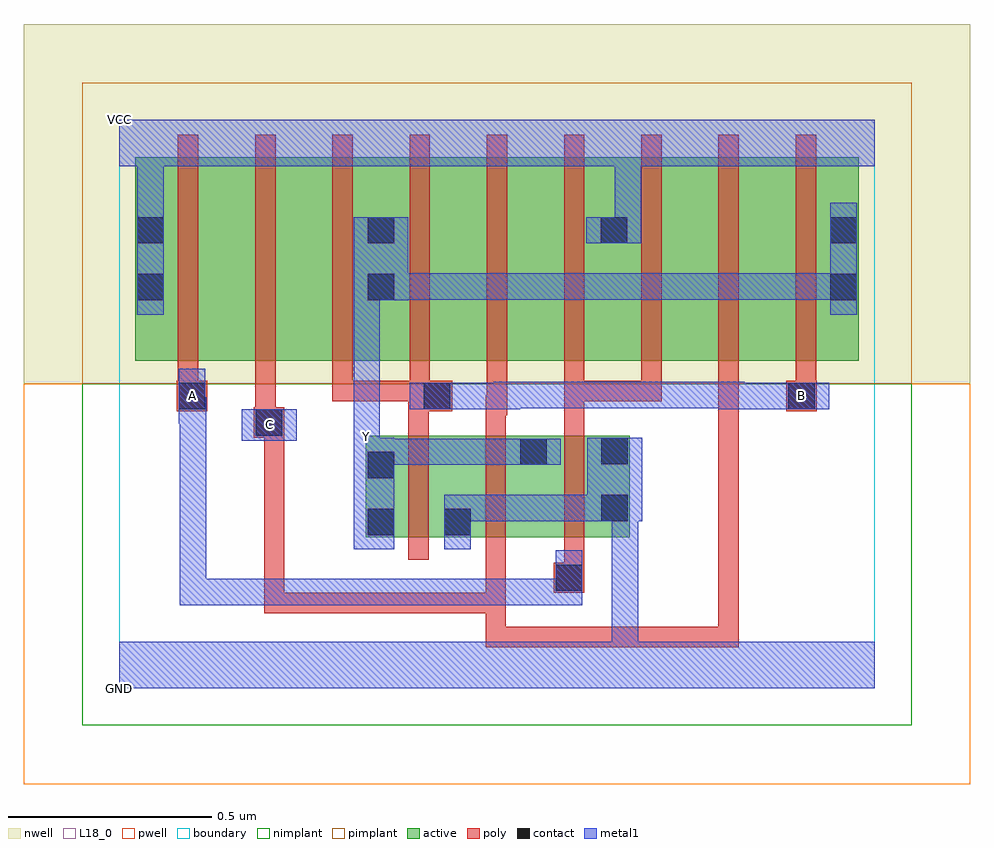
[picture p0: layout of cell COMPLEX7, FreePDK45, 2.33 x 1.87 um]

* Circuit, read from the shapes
.subckt COMPLEX7 A B C GND VCC Y
M1 GND B Y VSUBS nfet w=0.25u l=0.05u
M2 Y C GND VSUBS nfet w=0.25u l=0.05u
M3 GND A Y VSUBS nfet w=0.25u l=0.05u
M4 n1 A VCC n2 pfet w=0.5u l=0.05u
M5 n3 C n1 n2 pfet w=0.5u l=0.05u
M6 Y B n3 n2 pfet w=0.5u l=0.05u
M7 n4 B Y n2 pfet w=0.5u l=0.05u
M8 n5 C n4 n2 pfet w=0.5u l=0.05u
M9 VCC A n5 n2 pfet w=0.5u l=0.05u
M10 n6 A VCC n2 pfet w=0.5u l=0.05u
M11 n7 C n6 n2 pfet w=0.5u l=0.05u
M12 Y B n7 n2 pfet w=0.5u l=0.05u
.ends

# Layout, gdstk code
import gdstk
lib = gdstk.Library(unit=1e-6, precision=1e-09)
def R(c, l, rs):  # rectangles x0, y0, x1, y1
    for r in rs: c.add(gdstk.rectangle(r[:2], r[2:], *l))
def A(c, l, x, y, w, h, nx, ny, dx, dy):  # array of equal rectangles
    R(c, l, [(x+i*dx, y+j*dy, x+i*dx+w, y+j*dy+h) for i in range(nx) for j in range(ny)])
active = (1, 0)
pwell = (2, 0)
nwell = (3, 0)
nimplant = (4, 0)
pimplant = (5, 0)
poly = (9, 0)
contact = (10, 0)
metal1 = (11, 0)
L18_0 = (18, 0)
boundary = (235, 0)

complex7 = lib.new_cell('COMPLEX7')
A(complex7, active, 0.265, 0.807, 0.19, 0.5, 3, 1, 0.57, 0)
R(complex7, active, [(0.607,0.372,0.87,0.622), (0.607,0.372,0.682,0.622), (0.795,0.372,1.057,0.622), (0.795,0.372,0.87,0.467), (0.982,0.372,1.257,0.622), (1.182,0.407,1.257,0.622), (0.982,0.445,1.057,0.62), (0.04,0.807,0.265,1.307), (0.04,0.807,0.115,1.307), (0.455,0.807,0.682,1.307), (0.607,0.807,0.682,1.2), (0.607,0.807,0.835,1.307), (1.025,0.807,1.255,1.307), (1.18,0.807,1.405,1.307), (1.18,0.807,1.255,1.307), (1.595,0.807,1.82,1.307), (1.745,0.807,1.82,1.2)])
R(complex7, pwell, [(-0.235,-0.235,2.095,0.75)])
R(complex7, nwell, [(-0.235,0.75,2.095,1.635)])
R(complex7, nimplant, [(-0.09,-0.09,1.95,0.75)])
R(complex7, pimplant, [(-0.09,0.75,1.95,1.49)])
A(complex7, poly, 0.145, 0.752, 0.05, 0.61, 9, 1, 0.19, 0)
R(complex7, poly, [(0.902,0.102,0.952,0.152), (0.902,0.102,1.137,0.152), (0.902,0.102,0.952,0.235), (1.087,0.102,1.137,0.152), (1.087,0.102,1.137,0.152), (1.087,0.102,1.137,0.152), (1.087,0.102,1.392,0.152), (1.342,0.102,1.392,0.152), (1.342,0.102,1.392,0.152), (1.342,0.102,1.392,0.152), (1.342,0.102,1.392,0.152), (1.342,0.102,1.392,0.152), (1.342,0.102,1.392,0.152), (1.342,0.102,1.392,0.152), (1.342,0.102,1.525,0.152), (1.475,0.102,1.525,0.802), (1.475,0.102,1.525,0.152), (1.475,0.102,1.525,0.152), (1.475,0.102,1.525,0.152), (1.475,0.102,1.525,0.152), (1.475,0.102,1.525,0.152), (1.475,0.102,1.525,0.152), (1.475,0.102,1.525,0.152), (0.357,0.185,0.407,0.235), (0.357,0.185,0.407,0.235), (0.357,0.185,0.407,0.235), (0.357,0.185,0.407,0.235), (0.357,0.185,0.407,0.235), (0.357,0.185,0.54,0.235), (0.357,0.185,0.407,0.667), (0.49,0.185,0.54,0.235), (0.49,0.185,0.54,0.235), (0.49,0.185,0.54,0.235), (0.49,0.185,0.54,0.235), (0.49,0.185,0.54,0.235), (0.49,0.185,0.815,0.235), (0.765,0.185,0.815,0.235), (0.765,0.185,0.947,0.235), (0.897,0.185,0.947,0.235), (0.897,0.185,0.947,0.235), (0.897,0.185,0.952,0.235), (0.902,0.185,0.952,0.367), (1.07,0.235,1.145,0.31), (1.095,0.26,1.145,0.367), (0.712,0.317,0.762,0.677), (0.902,0.317,0.952,0.677), (1.095,0.317,1.145,0.677), (0.332,0.617,0.407,0.692), (0.712,0.627,0.762,0.732), (0.902,0.627,0.952,0.722), (1.095,0.627,1.145,0.757), (0.335,0.642,0.385,0.802), (0.902,0.672,0.955,0.722), (0.905,0.672,0.955,0.802), (0.142,0.682,0.217,0.757), (0.712,0.682,0.82,0.757), (1.642,0.682,1.717,0.757), (0.145,0.707,0.195,0.802), (0.525,0.707,0.575,0.802), (0.525,0.707,0.575,0.757), (0.525,0.707,0.762,0.757), (0.712,0.707,0.762,0.757), (0.712,0.707,0.762,0.757), (0.715,0.707,0.765,0.802), (1.095,0.707,1.145,0.802), (1.095,0.707,1.145,0.757), (1.095,0.707,1.335,0.757), (1.285,0.707,1.335,0.802), (1.285,0.707,1.335,0.757), (1.285,0.707,1.335,0.757), (1.285,0.707,1.335,0.757), (1.665,0.707,1.715,0.802)])
R(complex7, contact, [(1.075,0.24,1.14,0.305), (0.612,0.377,0.677,0.442), (0.8,0.377,0.865,0.442), (1.187,0.412,1.252,0.477), (0.612,0.517,0.677,0.582), (0.987,0.55,1.052,0.615), (1.187,0.552,1.252,0.617), (0.337,0.622,0.402,0.687), (0.147,0.687,0.212,0.752), (0.75,0.687,0.815,0.752), (1.647,0.687,1.712,0.752), (0.045,0.955,0.11,1.02), (0.612,0.955,0.677,1.02), (1.75,0.955,1.815,1.02), (0.045,1.095,0.11,1.16), (0.612,1.095,0.677,1.16), (1.185,1.095,1.25,1.16), (1.75,1.095,1.815,1.16)])
R(complex7, metal1, [(0,0,1.86,0.115), (1.212,0.05,1.277,0.477), (0.15,0.205,0.215,0.27), (0.15,0.205,0.352,0.27), (0.15,0.205,0.215,0.717), (0.287,0.205,0.352,0.27), (0.287,0.205,0.352,0.27), (0.287,0.205,0.352,0.27), (0.287,0.205,0.352,0.27), (0.287,0.205,0.352,0.27), (0.287,0.205,0.575,0.27), (0.51,0.205,0.575,0.27), (0.51,0.205,0.575,0.27), (0.51,0.205,0.575,0.27), (0.51,0.205,0.575,0.27), (0.51,0.205,0.575,0.27), (0.51,0.205,0.85,0.27), (0.785,0.205,0.85,0.27), (0.785,0.205,0.85,0.27), (0.785,0.205,0.85,0.27), (0.785,0.205,1.002,0.27), (0.937,0.205,1.002,0.27), (0.937,0.205,1.002,0.27), (0.937,0.205,1.002,0.27), (0.937,0.205,1.14,0.27), (1.075,0.205,1.14,0.34), (0.577,0.342,0.677,0.617), (0.8,0.342,0.865,0.477), (0.8,0.412,1.002,0.477), (0.937,0.412,1.002,0.477), (0.937,0.412,1.002,0.477), (0.937,0.412,1.002,0.477), (0.937,0.412,1.217,0.477), (1.152,0.412,1.217,0.477), (1.152,0.412,1.217,0.477), (1.152,0.412,1.287,0.617), (1.212,0.412,1.277,0.477), (1.212,0.412,1.277,0.477), (1.212,0.412,1.277,0.477), (1.212,0.412,1.277,0.477), (1.212,0.412,1.277,0.477), (1.212,0.412,1.277,0.477), (0.612,0.55,0.85,0.615), (0.785,0.55,0.85,0.615), (0.785,0.55,0.85,0.615), (0.785,0.55,0.85,0.615), (0.785,0.55,0.987,0.615), (0.922,0.55,0.987,0.615), (0.922,0.55,1.017,0.615), (0.952,0.55,1.087,0.615), (0.577,0.552,0.642,0.617), (0.577,0.552,0.642,0.687), (0.302,0.61,0.437,0.687), (0.577,0.622,0.642,1.02), (0.147,0.652,0.212,0.717), (0.147,0.652,0.212,0.787), (0.147,0.652,0.215,0.717), (0.715,0.687,0.85,0.752), (0.785,0.687,0.85,0.752), (0.785,0.687,0.85,0.752), (0.785,0.687,0.987,0.752), (0.922,0.687,0.987,0.755), (1.475,0.687,1.677,0.752), (1.475,0.687,1.54,0.755), (1.612,0.687,1.747,0.752), (0.922,0.69,1.077,0.755), (1.012,0.69,1.077,0.755), (1.012,0.69,1.265,0.755), (1.2,0.69,1.265,0.755), (1.2,0.69,1.265,0.755), (1.2,0.69,1.265,0.755), (1.2,0.69,1.402,0.755), (1.337,0.69,1.402,0.755), (1.337,0.69,1.402,0.755), (1.337,0.69,1.402,0.755), (1.337,0.69,1.54,0.755), (1.475,0.69,1.54,0.755), (1.475,0.69,1.54,0.755), (0.045,0.92,0.11,1.195), (1.75,0.92,1.815,1.195), (0.577,0.955,0.712,1.16), (0.647,0.957,0.712,1.022), (0.647,0.957,0.712,1.022), (0.647,0.957,0.85,1.022), (0.785,0.957,0.85,1.022), (0.785,0.957,1.002,1.022), (0.937,0.957,1.002,1.022), (0.937,0.957,1.002,1.022), (0.937,0.957,1.002,1.022), (0.937,0.957,1.265,1.022), (1.2,0.957,1.265,1.022), (1.2,0.957,1.265,1.022), (1.2,0.957,1.265,1.022), (1.2,0.957,1.402,1.022), (1.337,0.957,1.402,1.022), (1.337,0.957,1.402,1.022), (1.337,0.957,1.402,1.022), (1.337,0.957,1.54,1.022), (1.475,0.957,1.54,1.022), (1.475,0.957,1.54,1.022), (1.475,0.957,1.54,1.022), (1.475,0.957,1.815,1.022), (1.75,0.957,1.815,1.022), (1.75,0.957,1.815,1.022), (1.15,1.095,1.285,1.16), (1.22,1.095,1.285,1.35), (0.045,1.13,0.11,1.35), (0,1.285,1.86,1.4)])
R(complex7, L18_0, [(0,0,1.86,0.115), (1.212,0.05,1.277,0.477), (0.15,0.205,0.215,0.27), (0.15,0.205,0.215,0.717), (0.15,0.205,0.352,0.27), (0.287,0.205,0.352,0.27), (0.287,0.205,0.352,0.27), (0.287,0.205,0.352,0.27), (0.287,0.205,0.352,0.27), (0.287,0.205,0.352,0.27), (0.287,0.205,0.575,0.27), (0.51,0.205,0.575,0.27), (0.51,0.205,0.575,0.27), (0.51,0.205,0.575,0.27), (0.51,0.205,0.575,0.27), (0.51,0.205,0.575,0.27), (0.51,0.205,0.85,0.27), (0.785,0.205,0.85,0.27), (0.785,0.205,0.85,0.27), (0.785,0.205,0.85,0.27), (0.785,0.205,1.002,0.27), (0.937,0.205,1.002,0.27), (0.937,0.205,1.002,0.27), (0.937,0.205,1.002,0.27), (0.937,0.205,1.14,0.27), (1.075,0.205,1.14,0.34), (0.577,0.342,0.677,0.617), (0.8,0.342,0.865,0.477), (0.8,0.412,1.002,0.477), (0.937,0.412,1.002,0.477), (0.937,0.412,1.002,0.477), (0.937,0.412,1.002,0.477), (0.937,0.412,1.217,0.477), (1.152,0.412,1.217,0.477), (1.152,0.412,1.217,0.477), (1.152,0.412,1.287,0.617), (1.212,0.412,1.277,0.477), (1.212,0.412,1.277,0.477), (1.212,0.412,1.277,0.477), (1.212,0.412,1.277,0.477), (1.212,0.412,1.277,0.477), (1.212,0.412,1.277,0.477), (0.612,0.55,0.85,0.615), (0.785,0.55,0.85,0.615), (0.785,0.55,0.85,0.615), (0.785,0.55,0.85,0.615), (0.785,0.55,0.987,0.615), (0.922,0.55,0.987,0.615), (0.922,0.55,1.017,0.615), (0.952,0.55,1.087,0.615), (0.577,0.552,0.642,0.687), (0.577,0.552,0.642,0.617), (0.577,0.587,0.642,0.652), (0.302,0.61,0.437,0.687), (0.337,0.617,0.402,0.682), (0.577,0.622,0.642,1.02), (0.147,0.652,0.212,0.787), (0.147,0.652,0.212,0.717), (0.147,0.652,0.215,0.717), (0.147,0.687,0.212,0.752), (0.715,0.687,0.85,0.752), (0.785,0.687,0.85,0.752), (0.785,0.687,0.85,0.752), (0.785,0.687,0.987,0.752), (0.922,0.687,0.987,0.755), (1.475,0.687,1.677,0.752), (1.475,0.687,1.54,0.755), (1.612,0.687,1.747,0.752), (1.647,0.687,1.712,0.752), (0.922,0.69,1.077,0.755), (1.012,0.69,1.077,0.755), (1.012,0.69,1.265,0.755), (1.2,0.69,1.265,0.755), (1.2,0.69,1.265,0.755), (1.2,0.69,1.265,0.755), (1.2,0.69,1.402,0.755), (1.337,0.69,1.402,0.755), (1.337,0.69,1.402,0.755), (1.337,0.69,1.402,0.755), (1.337,0.69,1.54,0.755), (1.475,0.69,1.54,0.755), (1.475,0.69,1.54,0.755), (0.045,0.92,0.11,1.195), (1.75,0.92,1.815,1.195), (0.577,0.955,0.712,1.16), (0.647,0.957,0.712,1.022), (0.647,0.957,0.712,1.022), (0.647,0.957,0.85,1.022), (0.785,0.957,0.85,1.022), (0.785,0.957,1.002,1.022), (0.937,0.957,1.002,1.022), (0.937,0.957,1.002,1.022), (0.937,0.957,1.002,1.022), (0.937,0.957,1.265,1.022), (1.2,0.957,1.265,1.022), (1.2,0.957,1.265,1.022), (1.2,0.957,1.265,1.022), (1.2,0.957,1.402,1.022), (1.337,0.957,1.402,1.022), (1.337,0.957,1.402,1.022), (1.337,0.957,1.402,1.022), (1.337,0.957,1.54,1.022), (1.475,0.957,1.54,1.022), (1.475,0.957,1.54,1.022), (1.475,0.957,1.54,1.022), (1.475,0.957,1.815,1.022), (1.75,0.957,1.815,1.022), (1.75,0.957,1.815,1.022), (1.15,1.095,1.285,1.16), (1.22,1.095,1.285,1.35), (0.045,1.13,0.11,1.35), (0,1.285,1.86,1.4)])
R(complex7, boundary, [(0,0,1.86,1.4)])
complex7.add(gdstk.Label('A', (0.18,0.72), layer=11, texttype=0))
complex7.add(gdstk.Label('B', (1.68,0.72), layer=11, texttype=0))
complex7.add(gdstk.Label('C', (0.37,0.65), layer=11, texttype=0))
complex7.add(gdstk.Label('Y', (0.61,0.62), layer=11, texttype=0))
complex7.add(gdstk.Label('VCC', (0,1.4), layer=11, texttype=0))
complex7.add(gdstk.Label('GND', (0,0), layer=11, texttype=0))

lib.write_gds('COMPLEX7.gds')
